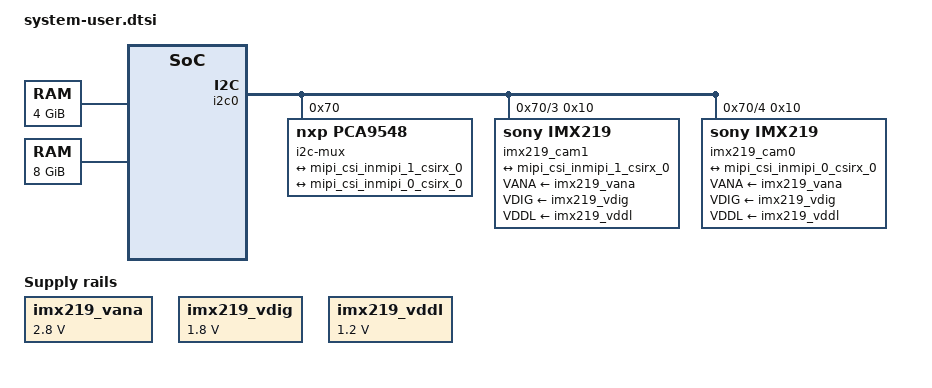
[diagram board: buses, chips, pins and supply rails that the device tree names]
//#include "include/dt-bindings/media/xilinx-vip.h"
/include/ "system-conf.dtsi"
/ {
	chosen {
		bootargs = "console=ttyAMA0  earlycon=pl011,mmio32,0xFF000000,115200n8 clk_ignore_unused root=/dev/mmcblk1p2 rw rootwait";
		stdout-path = "serial0:115200n8";
	};

	memorynoc_ddr4: memory@0 {
		device_type = "memory";
		reg = <0x0 0x00000000 0x0 0x80000000>, <0x8 0x00000000 0x0 0x80000000>;
	};

	memorynoc_lpddr4: memory@50000000000 {
		device_type = "memory";
		reg = <0x00000500 0x00000000 0x00000002 0x00000000>;
	};

	reserved-memory {
		#address-cells = <2>;
		#size-cells = <2>;
		ranges;

		video_reserved: cap_buf@0 {
			compatible = "shared-dma-pool";
			reg = <0x8 0x0 0x0 0x80000000>;
			reusable;
		};

		reserved: buffer@0 {
			compatible = "shared-dma-pool";
			reusable;
			reg = <0x500 0x0 0x2 0x0>;
			linux,cma-default;
		};
	};
};

//#include "i2c0_mux_conf.dtsi"

&amba_pl {
	imx219_clk: imx219_clk {
		#clock-cells = <0x0>;
		clock-frequency = <24000000>;
		compatible = "fixed-clock";
	};


	imx219_vana: fixedregulator@3 {
		compatible = "regulator-fixed";
		regulator-name = "imx219_vana";
		regulator-min-microvolt = <2800000>;
		regulator-max-microvolt = <2800000>;
		enable-active-high;
	};

	imx219_vdig: fixedregulator@4 {
		compatible = "regulator-fixed";
		regulator-name = "imx219_vdig";
		regulator-min-microvolt = <1800000>;
		regulator-max-microvolt = <1800000>;
	};

	imx219_vddl: fixedregulator@5 {
		compatible = "regulator-fixed";
		regulator-name = "imx219_vddl";
		regulator-min-microvolt = <1200000>;
		regulator-max-microvolt = <1200000>;
	};		

};

&i2c0 {
	status = "okay";
	i2c-mux@70 {
		compatible = "nxp,pca9548";
		status = "okay";
		#address-cells = <1>;
		#size-cells = <0>;
		reg = <0x70>;

		i2c@0 { /* SFP0 */
			#address-cells = <1>;
			#size-cells = <0>;
			reg = <0>;
		};
		i2c@1 { /* SFP1 */
			#address-cells = <1>;
			#size-cells = <0>;
			reg = <1>;
		};
		i2c@2 { /* MIPI4 - RPI-CAM2 */
			#address-cells = <1>;
			#size-cells = <0>;
			reg = <2>;

		};
		i2c@3 { /* MIPI3 - RPI-CAM1 */
			#address-cells = <1>;
			#size-cells = <0>;
			reg = <3>;
			imx219_cam1: sensor@10 {
				compatible = "sony,imx219";
				reg = <0x10>;
				clocks = <&imx219_clk>;

				VANA-supply = <&imx219_vana>;   /* 2.8v */
				VDIG-supply = <&imx219_vdig>;   /* 1.8v */
				VDDL-supply = <&imx219_vddl>;   /* 1.2v */
		
				rotation = <180>;
				orientation = <2>;

				port {
				     imx219_cam1_0: endpoint {
				        clock-lanes = <0>;
					data-lanes = <1 2>;
					clock-noncontinuous;
					link-frequencies = /bits/ 64 <456000000>;		     
			
					remote-endpoint = <&mipi_csi_inmipi_1_csirx_0>;
					};
				};
			};
		};
		i2c@4 { /* MIPI2 - RPI-CAM0 */
			#address-cells = <1>;
			#size-cells = <0>;
			reg = <4>;
			imx219_cam0: sensor@10 {
				compatible = "sony,imx219";
				reg = <0x10>;
				clocks = <&imx219_clk>;

				VANA-supply = <&imx219_vana>;   /* 2.8v */
				VDIG-supply = <&imx219_vdig>;   /* 1.8v */
				VDDL-supply = <&imx219_vddl>;   /* 1.2v */
		
				rotation = <180>;
				orientation = <2>;

				port {
				     imx219_cam0_0: endpoint {
				        clock-lanes = <0>;
					data-lanes = <1 2>;
					clock-noncontinuous;
					link-frequencies = /bits/ 64 <456000000>;		     
			
					remote-endpoint = <&mipi_csi_inmipi_0_csirx_0>;
					};
				};
			};
		};
		i2c@5 { /* MIPI5 - RPI-CAM3 */
			#address-cells = <1>;
			#size-cells = <0>;
			reg = <5>;
		};
		i2c@6 { /* MIPI0 */
			#address-cells = <1>;
			#size-cells = <0>;
			reg = <6>;
		};
		i2c@7 { /* MIPI1 */
			#address-cells = <1>;
			#size-cells = <0>;
			reg = <7>;
		};
	};
};


&mipi_0_csirx_0 {
	xlnx,en-active-lanes;
};

&mipi_1_csirx_0 {
	xlnx,en-active-lanes;
};


&mipi_csi_inmipi_0_csirx_0 {
	remote-endpoint = <&imx219_cam0_0>;
};

&mipi_csi_inmipi_1_csirx_0 {
	remote-endpoint = <&imx219_cam1_0>;
};

&mipi_0_ISPPipeline_accel_0 {
	//reset-gpios = <&cips_ss_0_axi_gpio_1 0 1>;
	xlnx,max-height = /bits/ 16 <4096>;
	xlnx,max-width = /bits/ 16 <4096>;
	xlnx,rgain = /bits/ 16 <128>;
	xlnx,bgain = /bits/ 16 <210>;
	xlnx,pawb = /bits/ 16 <350>;
	xlnx,mode-reg = <1>;
};

&isppipeline_port0mipi_0_ISPPipeline_accel_0 {
	xlnx,video-format = <12>; // XVIP_VF_MONO_SENSOR
	xlnx,video-width = <10>;
	xlnx,cfa-pattern = "rggb";
};

&isppipeline_port1mipi_0_ISPPipeline_accel_0 {
	//xlnx,video-format = <3>; // XVIP_VF_YUV_420
	//xlnx,video-format = <2>; // XVIP_VF_RBG
	xlnx,video-format = <21>; // XVIP_VF_XRGB
	xlnx,video-width = <8>;
	xlnx,cfa-pattern = "rggb";
};

&mipi_1_ISPPipeline_accel_0 {
	//reset-gpios = <&cips_ss_0_axi_gpio_1 4 1>;
	xlnx,max-height = /bits/ 16 <4096>;
	xlnx,max-width = /bits/ 16 <4096>;
	xlnx,rgain = /bits/ 16 <128>;
	xlnx,bgain = /bits/ 16 <210>;
	xlnx,pawb = /bits/ 16 <350>;
	xlnx,mode-reg = <1>;
};

&isppipeline_port0mipi_1_ISPPipeline_accel_0 {
	xlnx,video-format = <12>; // XVIP_VF_MONO_SENSOR
	xlnx,video-width = <10>;
	xlnx,cfa-pattern = "rggb";
};

&isppipeline_port1mipi_1_ISPPipeline_accel_0 {
	//xlnx,video-format = <3>; // XVIP_VF_YUV_420
	//xlnx,video-format = <2>; // XVIP_VF_RBG
	xlnx,video-format = <21>; // XVIP_VF_XRGB
	xlnx,video-width = <8>;
	xlnx,cfa-pattern = "rggb";
};

&mipi_0_v_proc_csc {
	compatible = "xlnx,v-vpss-scaler-2.2";
};
&scaler_port1mipi_0_v_proc_csc {
	//xlnx,video-format = <3>; // XVIP_VF_YUV_420
	//xlnx,video-format = <2>; // XVIP_VF_RBG
	xlnx,video-format = <21>; // XVIP_VF_XRGB
	xlnx,video-width = <8>;
};
&scaler_port0mipi_0_v_proc_csc {
	//xlnx,video-format = <3>; // XVIP_VF_YUV_420
	//xlnx,video-format = <2>; // XVIP_VF_RBG
	xlnx,video-format = <21>; // XVIP_VF_XRGB
	xlnx,video-width = <8>;
};

&mipi_1_v_proc_csc {
	compatible = "xlnx,v-vpss-scaler-2.2";
};
&scaler_port1mipi_1_v_proc_csc {
	//xlnx,video-format = <3>; // XVIP_VF_YUV_420
	//xlnx,video-format = <2>; // XVIP_VF_RBG
	xlnx,video-format = <21>; // XVIP_VF_XRGB
	xlnx,video-width = <8>;
};
&scaler_port0mipi_1_v_proc_csc {
	//xlnx,video-format = <3>; // XVIP_VF_YUV_420
	//xlnx,video-format = <2>; // XVIP_VF_RBG
	xlnx,video-format = <21>; // XVIP_VF_XRGB
	xlnx,video-width = <8>;
};



&mipi_csi_port1mipi_0_csirx_0 {
	xlnx,cfa-pattern = "rggb";
	xlnx,video-format = <12>; // XVIP_VF_MONO_SENSOR
	//xlnx,video-width = <8>;
	xlnx,video-width = <10>;
};

&mipi_csi_port0mipi_0_csirx_0 {
	xlnx,cfa-pattern = "rggb";
	xlnx,video-format = <12>; // XVIP_VF_MONO_SENSOR
	//xlnx,video-width = <8>;
	xlnx,video-width = <10>;
};

&mipi_csi_port1mipi_1_csirx_0 {
	xlnx,cfa-pattern = "rggb";
	xlnx,video-format = <12>; // XVIP_VF_MONO_SENSOR
	//xlnx,video-width = <8>;
	xlnx,video-width = <10>;
};

&mipi_csi_port0mipi_1_csirx_0 {
	xlnx,cfa-pattern = "rggb";
	xlnx,video-format = <12>; // XVIP_VF_MONO_SENSOR
	//xlnx,video-width = <8>;
	xlnx,video-width = <10>;
};


//#include "pl-custom.dtsi"
//#include "mipi-0.dtsi"
//#include "mipi-1.dtsi"
//#include "mipi-2.dtsi"
//#include "mipi-3.dtsi"
//#include "display.dtsi"









